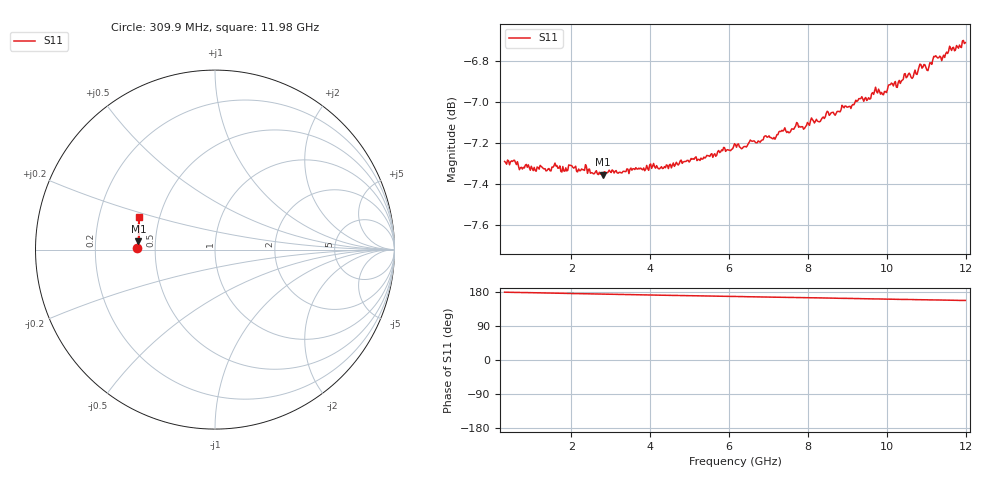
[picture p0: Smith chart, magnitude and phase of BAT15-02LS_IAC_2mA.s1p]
! Infineon Technologies  Discrete & RF Semiconductors
! BAT15-02ELS
! IAC = 2 mA
! One-Port S-Parameters
# Hz  S  MA  R  50
!f  S11
!Hz  Mag  Ang
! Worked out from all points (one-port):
!   468 points, 309.9 MHz to 11.98 GHz, reference 50 ohm
!   lowest |S11| = -7.4 dB at 2.809 GHz (marker M1), VSWR 2.50, Z = 20 + j2.22 ohm
!   |S11| at or under -10 dB: nowhere
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3.0985e8  0.432 178.9
1.059475e9  0.4306 177.5
1.584212e9  0.4316 176.4
1.784112e9  0.4308 175.9
1.984012e9  0.4311 175.5
2.8086e9  0.4288 173.9
3.233388e9  0.4294 173.0
4.70765e9  0.4312 170.2
6.156925e9  0.4361 167.6
6.356825e9  0.4355 167.2
7.6062e9  0.4399 165.0
7.831088e9  0.4405 164.7
8.030988e9  0.4408 164.2
8.2059e9  0.4423 164.0
8.4058e9  0.4425 163.5
8.580712e9  0.444 163.3
9.080462e9  0.445 162.4
9.730138e9  0.4492 161.2
9.930038e9  0.4493 160.7
1.007996e10  0.451 160.5
1.027986e10  0.4516 160.0
1.052974e10  0.4536 159.7
1.08046e10  0.4555 159.0
1.097951e10  0.4553 159.1
1.112944e10  0.4561 158.5
1.132934e10  0.4582 158.3
1.152924e10  0.4589 157.9
1.197901e10  0.4617 157.1
